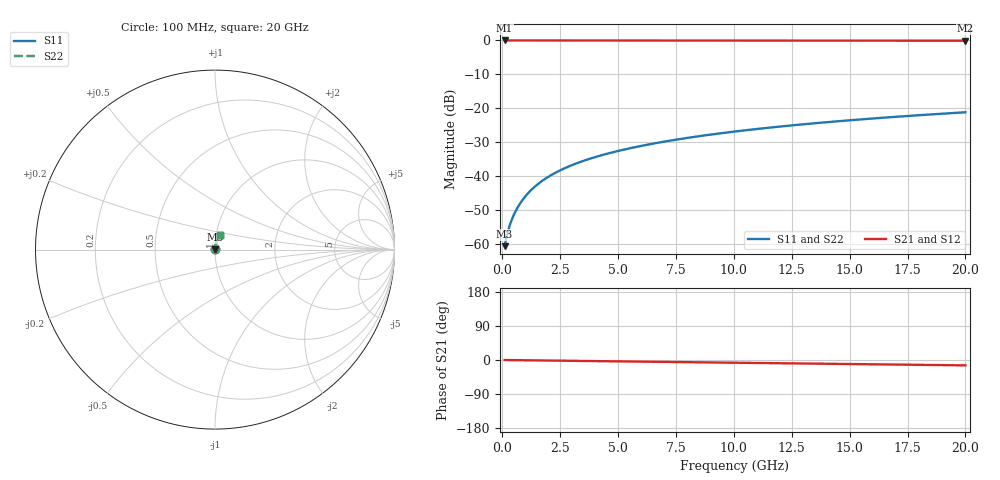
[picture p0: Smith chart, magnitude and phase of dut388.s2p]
! Touchstone file exported from HFSS 2026.1.0
!  File:  C:/ffzhzh/LocalFiles/Ansys_Project_Files/temp_train_TMRDL_388_1783004688_4048.aedt
!  Generated:  11:06:03 PM Jul  2, 2026
!  Design:  TMRDL
!  Project:  temp_train_TMRDL_388_1783004688_4048
! Variables:
!  h_bsmrdl = 2um
!  h_ox = 20um
!  h_rdl = 5um
!  h_sub = 80um
!  h_tmrdl = 5.75um
!  h_tsv = 80um
!  h_via = 3um
!  l_bsmrdl = 300um
!  l_sub = 615.55um
!  l_tmrdl = 215.55um
!  m_sub = 200um
!  pitch = 37.22um
!  r_tsv = 6um
!  s_tmrdl = 10um
!  w_bsmrdl = 18um
!  w_sub = 500um
!  w_tmrdl = 23.19um
!  x_tsv_center1 = 227.145um
!  x_tsv_center2 = 545.145um
!  x_tsv_center3 = 783.885um
!  x_tsv_center4 = 1101.885um
!  x_tsv_center5 = 1340.625um
!  x_tsv_center6 = 1658.625um
# GHz S MA R 50.000000
! Terminal data exported
! Port[1] = TM_RDL1_1_T1
! Port[2] = TM_RDL1_1_T2
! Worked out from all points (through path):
!   200 points, 100 MHz to 20 GHz, reference 50 ohm
!   highest |S21| = -0.01 dB at 100 MHz (marker M1); lowest = -0.1 dB at 20 GHz (marker M2)
!   group delay of S21, straight-line fit = 1.96 ps
!   lowest |S11| = -60.5 dB at 100 MHz (marker M3), VSWR 1.00, Z = 50.1 + j0.0589 ohm
!   |S11| at or under -10 dB: start of sweep to end of sweep
!   |S22| runs from -60.5 to -21.1 dB; largest |S21 - S12| = 1.5e-14
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0.1  0.0009393 38.8  0.9993 -0.1  0.9993 -0.1  0.0009393 38.8
! Gamma 0 0 0 0
! Port Impedance 50 0 50 0
0.2  0.001368 53.9  0.9992 -0.2  0.9992 -0.2  0.001368 53.9
0.3  0.001809 61.7  0.9991 -0.2  0.9991 -0.2  0.001809 61.7
0.4  0.002259 66.7  0.9991 -0.3  0.9991 -0.3  0.002259 66.7
0.5  0.00272 70.2  0.9991 -0.4  0.9991 -0.4  0.00272 70.2
0.6  0.003188 72.7  0.9991 -0.4  0.9991 -0.4  0.003188 72.7
0.8  0.004141 75.9  0.999 -0.6  0.999 -0.6  0.004141 75.9
1.1  0.005587 78.6  0.9989 -0.8  0.9989 -0.8  0.005587 78.6
1.3  0.006553 79.6  0.9989 -1.0  0.9989 -1.0  0.006553 79.6
1.6  0.007999 80.5  0.9988 -1.2  0.9988 -1.2  0.007999 80.5
2.1  0.01039 81.1  0.9986 -1.5  0.9986 -1.5  0.01039 81.1
2.7  0.01321 81.4  0.9984 -2.0  0.9984 -2.0  0.01321 81.4
3.5  0.01689 81.3  0.9981 -2.6  0.9981 -2.6  0.01689 81.3
4.2  0.02007 81.1  0.9978 -3.1  0.9978 -3.1  0.02007 81.1
5  0.02364 80.9  0.9975 -3.6  0.9975 -3.6  0.02364 80.9
5.9  0.02763 80.5  0.9971 -4.3  0.9971 -4.3  0.02763 80.5
6.8  0.03159 80.2  0.9968 -4.9  0.9968 -4.9  0.03159 80.1
8.3  0.03813 79.5  0.9962 -6.0  0.9962 -6.0  0.03813 79.5
10.1  0.04593 78.6  0.9956 -7.2  0.9956 -7.2  0.04593 78.5
13.4  0.06007 76.7  0.9943 -9.5  0.9943 -9.5  0.06007 76.7
16.7  0.07401 74.7  0.9929 -11.9  0.9929 -11.9  0.07401 74.7
20  0.08772 72.7  0.9913 -14.2  0.9913 -14.2  0.08772 72.7
